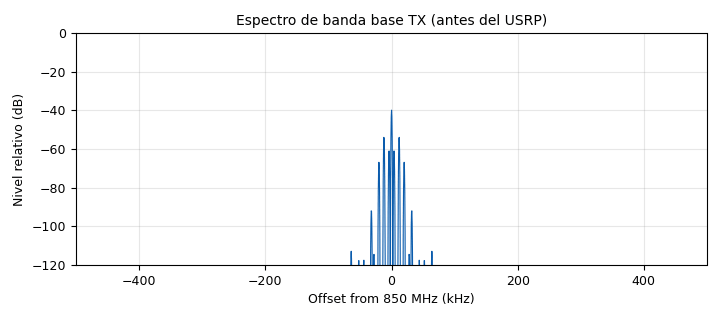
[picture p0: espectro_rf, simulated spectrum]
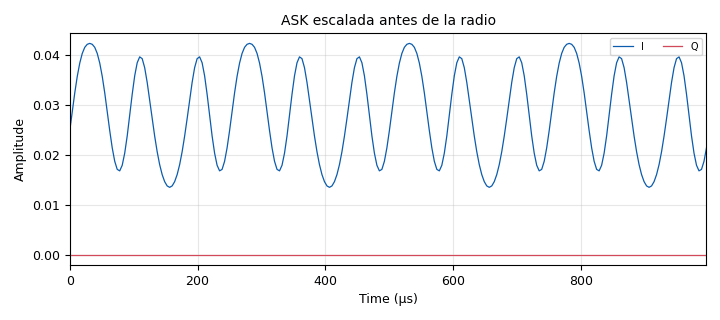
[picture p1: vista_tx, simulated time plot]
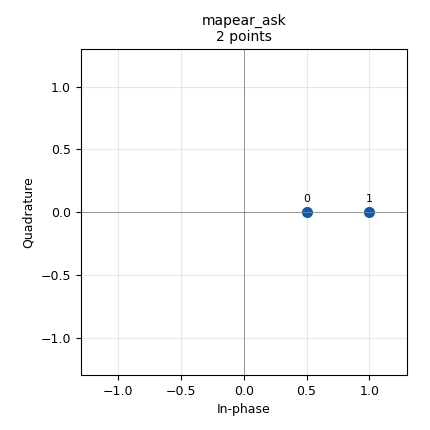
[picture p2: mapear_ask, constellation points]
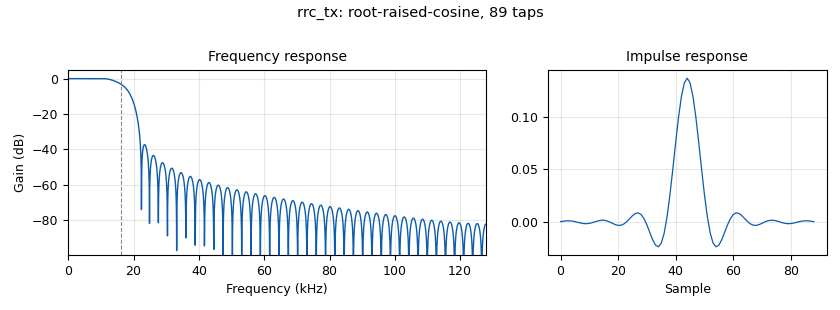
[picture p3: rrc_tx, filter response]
options:
  parameters:
    author: Silvia Fernanda Leon Rodriguez; Jose Manuel Serrano Sarmiento
    comment: 'Version revisada: TX ASK, filtro RRC, remuestreo a 1 MS/s, visualizacion de banda base y UHD USRP Sink.'
    description: Transmisor ASK binario para USRP-2920 a 850 MHz. Generacion continua hasta detener manualmente. Tasa de banda base 256 kS/s, remuestreo a 1 MS/s.
    generate_options: qt_gui
    id: ASK_Guia3_USRP2920_850MHz
    output_language: python
    title: ASK - Transmisor USRP-2920 corregido
  states: {}

blocks:
- name: Rs
  id: variable
  parameters:
    value: '32000'
  states: {}
- name: Sps
  id: variable
  parameters:
    value: '8'
  states: {}
- name: amplitud_tx
  id: variable
  parameters:
    value: '0.3'
  states: {}
- name: bb_rate
  id: variable
  parameters:
    value: Rs*Sps
  states: {}
- name: beta
  id: variable
  parameters:
    value: '0.35'
  states: {}
- name: frecuencia_rf
  id: variable
  parameters:
    value: 850e6
  states: {}
- name: ganancia_tx
  id: variable
  parameters:
    value: '0'
  states: {}
- name: ip_tx
  id: variable
  parameters:
    value: '''192.168.10.2'''
  states: {}
- name: n_taps
  id: variable
  parameters:
    value: span*Sps+1
  states: {}
- name: radio_rate
  id: variable
  parameters:
    value: '1000000'
  states: {}
- name: samp_rate
  id: variable
  parameters:
    value: bb_rate
  states: {}
- name: span
  id: variable
  parameters:
    value: '12'
  states: {}
- name: trama_prueba
  id: variable
  parameters:
    value: '[0, 1, 0, 1, 0, 1, 0, 1, 0, 1, 0, 1, 0, 1, 0, 1, 0, 1, 0, 1, 0, 1, 0, 1, 0, 1, 0, 1, 0, 1, 0, 1, 0, 1, 0, 1, 0, 1, 0, 1, 0, 1, 0, 1, 0, 1, 0, 1, 0, 1, 0, 1, 0, 1, 0, 1, 0, 1, 0, 1, 0, 1, 0, 1, 0, 1, 1, 0, 1, 1, 0, 0, 1, 0, 0, 1, 0, 0, 0, 1, 0, 1, 1, 1, 1, 1, 1, 1, 0, 0, 0, 0, 0, 0, 0, 0, 0, 1, 0, 1, 1, 1, 1, 0, 0, 1, 0, 1, 0, 1, 1, 1, 1, 0, 0, 1, 1, 1, 0, 1, 1, 0, 0, 0, 0, 0, 1, 1, 1, 0, 0, 1, 0, 1, 1, 1, 1, 1, 0, 0, 1, 1, 0, 0, 0, 0, 1, 0, 0, 0, 1, 1, 1, 1, 0, 0, 0, 0, 0, 0, 0, 1, 1, 1, 1, 1, 0, 1, 0, 0, 1, 0, 0, 1, 0, 1, 0, 0, 0, 1, 0, 1, 0, 0, 0, 0, 1, 0, 1, 0, 1, 1, 1, 1, 0, 1, 1, 0, 1, 1, 0, 0, 1, 1, 1, 1, 1, 1, 1, 0, 1, 0, 0, 1, 1, 1, 1, 0, 1, 0, 1, 0, 0, 0, 1, 1, 0, 0, 0, 0, 0, 0, 0, 0, 0, 1, 1, 0, 0, 0, 1, 1, 0, 1, 0, 1, 0, 1, 0, 0, 0, 0, 0, 1, 0, 1, 0, 1, 0, 1, 1, 0, 0, 0, 1, 1, 1, 0, 1, 1, 1, 1, 0, 0, 1, 1, 0, 1, 1, 1, 1, 1, 0, 0, 1, 0, 1, 0, 0, 1, 1, 0, 1, 0, 1, 1, 1, 0, 1, 0, 0, 0, 1, 0, 1, 0, 0, 0, 0, 0, 1, 0, 0, 1, 1, 1, 1, 1, 1, 1, 0, 1, 1, 0, 0, 1, 1, 1, 0, 1, 1, 1, 1, 1, 0, 0, 1, 0, 0, 0, 1, 0, 1, 0, 1, 1, 1, 0, 0, 0, 0, 1, 0, 0, 0, 1, 0, 0, 1, 1, 0, 1, 1, 1, 1, 0, 0, 0, 1, 1, 1, 1, 1, 0, 0, 1, 0, 0, 0, 1, 1, 0, 0, 0]'
  states: {}
- name: adaptar_tx
  id: rational_resampler_xxx
  parameters:
    comment: Adapta la tasa de banda base (Rs*Sps = 256 kS/s) a 1 MS/s para el USRP.
    decim: '32'
    fbw: '0.4'
    interp: '125'
    type: ccc
  states: {}
- name: bits_trama
  id: blocks_vector_source_x
  parameters:
    repeat: 'True'
    type: byte
    vector: '[0,1,0,1,1,0,1,0]'
  states: {}
- name: escala_tx
  id: blocks_multiply_const_vxx
  parameters:
    const: '0.3'
    type: complex
  states: {}
- name: espectro_rf
  id: qtgui_freq_sink_x
  parameters:
    average: '0.2'
    bw: radio_rate
    fc: frecuencia_rf
    fftsize: '2048'
    grid: 'True'
    gui_hint: vistas@1:0,0,1,1
    label: Nivel relativo
    name: '"Espectro de banda base TX (antes del USRP)"'
    type: complex
    ymax: '0'
    ymin: '-120'
  states: {}
- name: importaciones
  id: import
  parameters:
    imports: import math; from gnuradio import gr; from gnuradio.filter import firdes; from gnuradio.fft import window
  states: {}
- name: mapear_ask
  id: digital_chunks_to_symbols_xx
  parameters:
    dimension: '1'
    in_type: byte
    out_type: complex
    symbol_table: (0.5+0j,1.0+0j)
  states: {}
- name: nota_montaje
  id: note
  parameters:
    note: 'Antes de ejecutar: conectar y encender el USRP-2920; confirmar la IP configurada en ip_tx; verificar que 850 MHz sea una frecuencia autorizada para la prueba. La transmision es continua hasta pulsar Stop/Kill. La grafica de espectro conectada antes del USRP muestra banda base digital, no mide RF radiada. Empezar con ganancia TX baja.'
  states: {}
- name: rrc_tx
  id: root_raised_cosine_filter
  parameters:
    alpha: '0.35'
    gain: '1'
    interp: '8'
    ntaps: '88'
    samp_rate: '256000'
    sym_rate: '32000'
    type: interp_fir_filter_ccf
  states: {}
- name: usrp_tx
  id: uhd_usrp_sink
  parameters:
    ant0: '"TX/RX"'
    center_freq0: frecuencia_rf
    clock_rate: '0'
    clock_source0: internal
    comment: UHD USRP Sink. Verificar IP real del USRP-2920, puerto TX/RX, tasa 1 MS/s y frecuencia 850 MHz. No ejecutar con hardware desconectado.
    dev_addr: addr=192.168.10.2
    dev_args: '""'
    gain0: ganancia_tx
    samp_rate: 1e6
    stream_chans: '0'
    sync: none
    type: fc32
  states: {}
- name: vista_tx
  id: qtgui_time_sink_x
  parameters:
    autoscale: 'True'
    grid: 'True'
    gui_hint: vistas@0:0,0,1,1
    label1: I
    label2: Q
    name: '"ASK escalada antes de la radio"'
    size: '256'
    srate: samp_rate
    type: complex
    ymax: '2'
    ymin: '-2'
  states: {}
- name: vistas
  id: qtgui_tab_widget
  parameters:
    gui_hint: 0,0,1,1
    label0: Senal digital Tx
    label1: Espectro digital Tx
    num_tabs: '2'
  states: {}

connections:
- [adaptar_tx, '0', espectro_rf, '0']
- [adaptar_tx, '0', usrp_tx, '0']
- [bits_trama, '0', mapear_ask, '0']
- [escala_tx, '0', adaptar_tx, '0']
- [escala_tx, '0', vista_tx, '0']
- [mapear_ask, '0', rrc_tx, '0']
- [rrc_tx, '0', escala_tx, '0']

metadata:
  file_format: 1
  grc_version: v3.10.11.0-89-ga17f69e7
